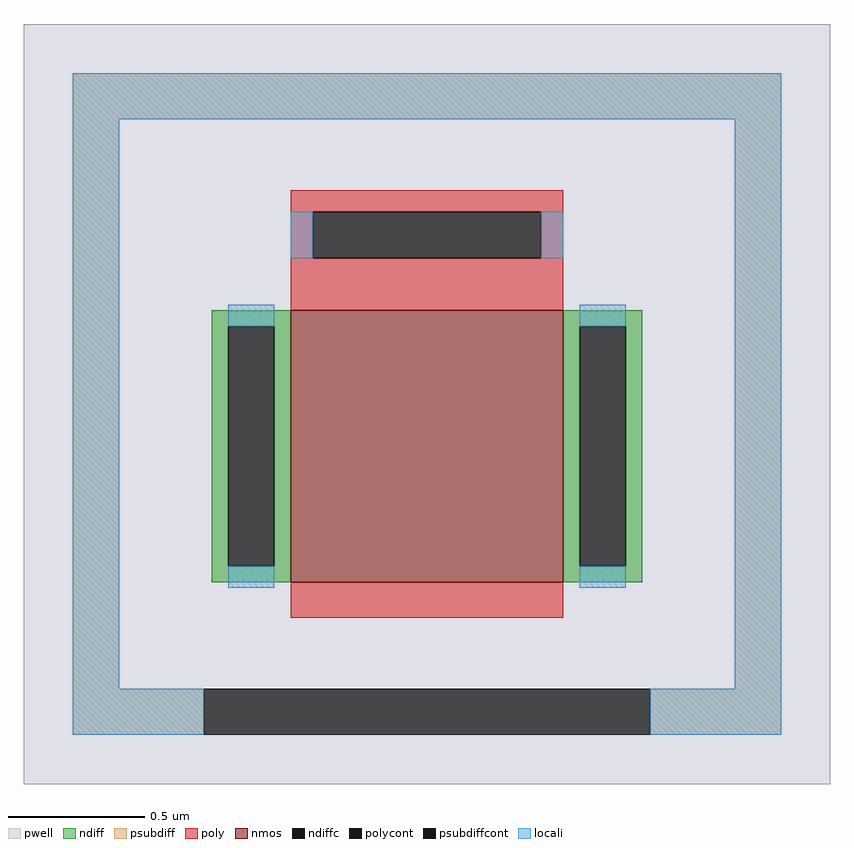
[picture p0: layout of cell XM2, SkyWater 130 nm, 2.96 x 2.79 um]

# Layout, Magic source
magic
tech sky130A
magscale 1 2
<< pwell >>
rect -296 -279 296 279
<< nmos >>
rect -100 -131 100 69
<< ndiff >>
rect -158 57 -100 69
rect -158 -119 -146 57
rect -112 -119 -100 57
rect -158 -131 -100 -119
rect 100 57 158 69
rect 100 -119 112 57
rect 146 -119 158 57
rect 100 -131 158 -119
<< ndiffc >>
rect -146 -119 -112 57
rect 112 -119 146 57
<< psubdiff >>
rect -260 209 260 243
rect -260 -209 -226 209
rect 226 -209 260 209
rect -260 -243 -164 -209
rect 164 -243 260 -209
<< psubdiffcont >>
rect -164 -243 164 -209
<< poly >>
rect -100 141 100 157
rect -100 107 -84 141
rect 84 107 100 141
rect -100 69 100 107
rect -100 -157 100 -131
<< polycont >>
rect -84 107 84 141
<< locali >>
rect -260 209 260 243
rect -260 -209 -226 209
rect -100 107 -84 141
rect 84 107 100 141
rect -146 57 -112 73
rect -146 -135 -112 -119
rect 112 57 146 73
rect 112 -135 146 -119
rect 226 -209 260 209
rect -260 -243 -164 -209
rect 164 -243 260 -209
<< properties >>
string FIXED_BBOX -243 -226 243 226
<< end >>
